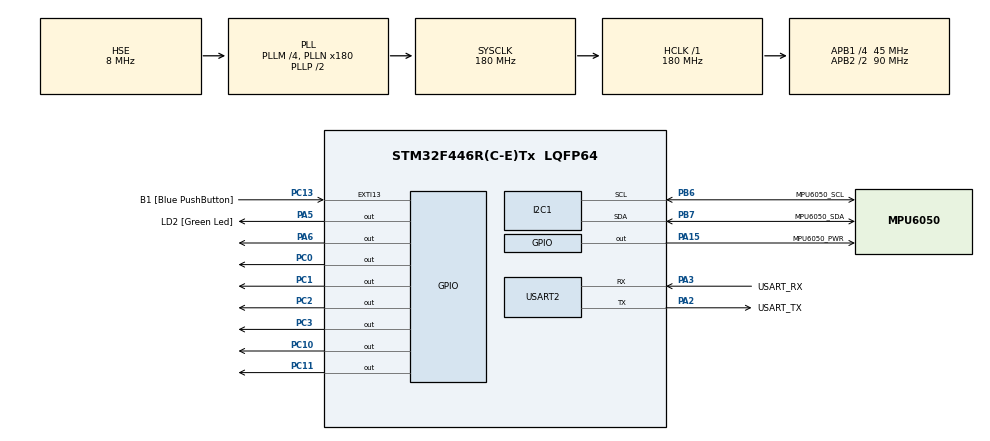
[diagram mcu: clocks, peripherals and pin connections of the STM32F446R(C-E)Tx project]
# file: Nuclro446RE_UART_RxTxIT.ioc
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Dma.I2C1_RX.0.Direction=DMA_PERIPH_TO_MEMORY
Dma.I2C1_RX.0.FIFOMode=DMA_FIFOMODE_DISABLE
Dma.I2C1_RX.0.Instance=DMA1_Stream0
Dma.I2C1_RX.0.MemDataAlignment=DMA_MDATAALIGN_BYTE
Dma.I2C1_RX.0.MemInc=DMA_MINC_ENABLE
Dma.I2C1_RX.0.Mode=DMA_NORMAL
Dma.I2C1_RX.0.PeriphDataAlignment=DMA_PDATAALIGN_BYTE
Dma.I2C1_RX.0.PeriphInc=DMA_PINC_DISABLE
Dma.I2C1_RX.0.Priority=DMA_PRIORITY_HIGH
Dma.I2C1_TX.1.Direction=DMA_MEMORY_TO_PERIPH
Dma.I2C1_TX.1.FIFOMode=DMA_FIFOMODE_DISABLE
Dma.I2C1_TX.1.Instance=DMA1_Stream6
Dma.I2C1_TX.1.MemDataAlignment=DMA_MDATAALIGN_BYTE
Dma.I2C1_TX.1.MemInc=DMA_MINC_ENABLE
Dma.I2C1_TX.1.Mode=DMA_NORMAL
Dma.I2C1_TX.1.PeriphDataAlignment=DMA_PDATAALIGN_BYTE
Dma.I2C1_TX.1.PeriphInc=DMA_PINC_DISABLE
Dma.I2C1_TX.1.Priority=DMA_PRIORITY_HIGH
Dma.Request0=I2C1_RX
Dma.Request1=I2C1_TX
I2C1.DutyCycle=I2C_DUTYCYCLE_16_9
I2C1.I2C_Mode=I2C_Fast
I2C1.OwnAddress=0x0
Mcu.Family=STM32F4
Mcu.Name=STM32F446R(C-E)Tx
Mcu.Package=LQFP64
NVIC.DMA1_Stream0_IRQn=true\:0\:0\:false\:false\:true\:true
NVIC.DMA1_Stream6_IRQn=true\:0\:0\:false\:false\:true\:true
NVIC.PriorityGroup=NVIC_PRIORITYGROUP_0
NVIC.RCC_IRQn=true\:0\:0\:false\:false\:true\:true
NVIC.TIM2_IRQn=true\:0\:0\:false\:false\:true\:true
NVIC.TIM3_IRQn=true\:0\:0\:false\:false\:true\:true
NVIC.USART2_IRQn=true\:0\:0\:false\:false\:true\:true
PA13.GPIO_Label=TMS
PA13.Signal=SYS_JTMS-SWDIO
PA14.GPIO_Label=TCK
PA14.Signal=SYS_JTCK-SWCLK
PA15.GPIO_Label=MPU6050_PWR
PA15.GPIO_Speed=GPIO_SPEED_FREQ_HIGH
PA15.Signal=GPIO_Output
PA2.GPIO_Label=USART_TX
PA2.Mode=Asynchronous
PA2.Signal=USART2_TX
PA3.GPIO_Label=USART_RX
PA3.Mode=Asynchronous
PA3.Signal=USART2_RX
PA5.GPIO_Label=LD2 [Green Led]
PA5.Signal=GPIO_Output
PA6.Signal=GPIO_Output
PB3.GPIO_Label=SWO
PB3.Signal=SYS_JTDO-SWO
PB6.GPIO_Label=MPU6050_SCL
PB6.GPIO_Speed=GPIO_SPEED_FREQ_HIGH
PB6.Mode=I2C
PB6.Signal=I2C1_SCL
PB7.GPIO_Label=MPU6050_SDA
PB7.GPIO_Speed=GPIO_SPEED_FREQ_HIGH
PB7.Mode=I2C
PB7.Signal=I2C1_SDA
PC0.Signal=GPIO_Output
PC1.Signal=GPIO_Output
PC10.Signal=GPIO_Output
PC11.Signal=GPIO_Output
PC13.GPIO_Label=B1 [Blue PushButton]
PC13.GPIO_ModeDefaultEXTI=GPIO_MODE_EVT_RISING
PC13.Signal=GPXTI13
PC14-OSC32_IN.Signal=RCC_OSC32_IN
PC15-OSC32_OUT.Signal=RCC_OSC32_OUT
PC2.Signal=GPIO_Output
PC3.Signal=GPIO_Output
PH0-OSC_IN.Mode=HSE-External-Oscillator
PH0-OSC_IN.Signal=RCC_OSC_IN
PH1-OSC_OUT.Mode=HSE-External-Oscillator
PH1-OSC_OUT.Signal=RCC_OSC_OUT
ProjectManager.HeapSize=0x200
ProjectManager.StackSize=0x400
ProjectManager.TargetToolchain=TrueSTUDIO
RCC.AHBFreq_Value=180000000
RCC.APB1CLKDivider=RCC_HCLK_DIV4
RCC.APB1Freq_Value=45000000
RCC.APB1TimFreq_Value=90000000
RCC.APB2CLKDivider=RCC_HCLK_DIV2
RCC.APB2Freq_Value=90000000
RCC.APB2TimFreq_Value=180000000
RCC.CortexFreq_Value=180000000
RCC.FLatency-AdvancedSettings=FLASH_LATENCY_5
RCC.HCLKFreq_Value=180000000
RCC.HSE_VALUE=8000000
RCC.HSI_VALUE=16000000
RCC.LSE_VALUE=32768
RCC.PLLM=4
RCC.PLLN=180
RCC.PLLSourceVirtual=RCC_PLLSOURCE_HSE
RCC.SYSCLKFreq_VALUE=180000000
RCC.SYSCLKSource=RCC_SYSCLKSOURCE_PLLCLK
RCC.USBFreq_Value=180000000
RCC.VCOOutputFreq_Value=360000000
TIM2.Period=9999
TIM2.Prescaler=9000
TIM3.Period=4999
TIM3.Prescaler=9000
USART2.VirtualMode=VM_ASYNC
VP_TIM2_VS_ClockSourceINT.Mode=Internal
VP_TIM3_VS_ClockSourceINT.Mode=Internal
board=NUCLEO-F446RE

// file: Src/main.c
/**
  ******************************************************************************
  * File Name          : main.c
  * Description        : Main program body
  ******************************************************************************
  *
  * COPYRIGHT(c) 2016 STMicroelectronics
  *
  * Redistribution and use in source and binary forms, with or without modification,
  * are permitted provided that the following conditions are met:
  *   1. Redistributions of source code must retain the above copyright notice,
  *      this list of conditions and the following disclaimer.
  *   2. Redistributions in binary form must reproduce the above copyright notice,
  *      this list of conditions and the following disclaimer in the documentation
  *      and/or other materials provided with the distribution.
  *   3. Neither the name of STMicroelectronics nor the names of its contributors
  *      may be used to endorse or promote products derived from this software
  *      without specific prior written permission.
  *
  * THIS SOFTWARE IS PROVIDED BY THE COPYRIGHT HOLDERS AND CONTRIBUTORS "AS IS"
  * AND ANY EXPRESS OR IMPLIED WARRANTIES, INCLUDING, BUT NOT LIMITED TO, THE
  * IMPLIED WARRANTIES OF MERCHANTABILITY AND FITNESS FOR A PARTICULAR PURPOSE ARE
  * DISCLAIMED. IN NO EVENT SHALL THE COPYRIGHT HOLDER OR CONTRIBUTORS BE LIABLE
  * FOR ANY DIRECT, INDIRECT, INCIDENTAL, SPECIAL, EXEMPLARY, OR CONSEQUENTIAL
  * DAMAGES (INCLUDING, BUT NOT LIMITED TO, PROCUREMENT OF SUBSTITUTE GOODS OR
  * SERVICES; LOSS OF USE, DATA, OR PROFITS; OR BUSINESS INTERRUPTION) HOWEVER
  * CAUSED AND ON ANY THEORY OF LIABILITY, WHETHER IN CONTRACT, STRICT LIABILITY,
  * OR TORT (INCLUDING NEGLIGENCE OR OTHERWISE) ARISING IN ANY WAY OUT OF THE USE
  * OF THIS SOFTWARE, EVEN IF ADVISED OF THE POSSIBILITY OF SUCH DAMAGE.
  *
  ******************************************************************************
  */
#include "stm32f4xx_hal.h"

/* USER CODE BEGIN Includes */
// SYSTICK_Config는 반드시 1000000으로 설정할것~!!!!!
// I2C Clock는 반드시 400KHz로 설정할것.....
#include <stdio.h>
#include <string.h>
#include "tlcd.h"
#include "my_mpu6050.h"
/* USER CODE END Includes */

I2C_HandleTypeDef hi2c1;
DMA_HandleTypeDef hdma_i2c1_rx;
DMA_HandleTypeDef hdma_i2c1_tx;

TIM_HandleTypeDef htim2;
TIM_HandleTypeDef htim3;

UART_HandleTypeDef huart2;

/* USER CODE BEGIN PV */
/* Private variables ---------------------------------------------------------*/
uint8_t Rx_Data2;            // uart2 receive data buffer
uint8_t Transfer_cplt2=0;
uint8_t count = 0,n;
char    sprt[50],gyroData[60],bufdata[14]={0,},i2cTxData[2];
uint8_t MpuSetReady = 0;

/* Initialization of variables for kalman filter */
float x_next[7], P_next[7], z[7],K[7],nn[7];
float P[7]={1,1,1,1,1,1,1};
float Q[7]={0.00001,0.00001,0.00001,0.00001,0.00001,0.00001,0.00001};
float R[7]={0.02,0.02,0.02,0.02,0.02,0.02,0.02};
float xfilter_value[7]={0,0,0,0,0,0,0};

/* USER CODE END PV */

void SystemClock_Config(void);
void Error_Handler(void);
static void MX_GPIO_Init(void);
static void MX_DMA_Init(void);
static void MX_USART2_UART_Init(void);
static void MX_I2C1_Init(void);
static void MX_TIM2_Init(void);
static void MX_TIM3_Init(void);

/* USER CODE BEGIN PFP */
/* Private function prototypes -----------------------------------------------*/
void HAL_UART_RxCpltCallback(UART_HandleTypeDef *huart);
void HAL_TIM_PeriodElapsedCallback(TIM_HandleTypeDef *htim);
void kalman_filter();

/* USER CODE END PFP */

/* USER CODE BEGIN 0 */
void HAL_UART_RxCpltCallback(UART_HandleTypeDef *huart)
{
	if(huart->Instance==USART2){
		HAL_UART_Transmit(&huart2,(uint8_t *)&Rx_Data2, 1,1000);
		HAL_UART_Receive_IT(&huart2,(uint8_t *)&Rx_Data2, 1);
		HAL_GPIO_TogglePin(LD2_GPIO_Port, LD2_Pin);
	}
/*	if(huart->Instance==UART5){
		HAL_UART_Transmit(&huart2,(uint8_t *)&Rx_Data5, 1,1000);
		HAL_UART_Receive_IT(&huart5,(uint8_t *)&Rx_Data5, 1);
	} */
}

uint8_t test = 0;
void HAL_TIM_PeriodElapsedCallback(TIM_HandleTypeDef *htim)
{
	if(htim->Instance==TIM2) {       // 1 sec interrupt
		//sprintf(sprt,"DT : %02d\r\n",count++);
		//if(count==100) count = 0;
		HAL_UART_Transmit(&huart2,(uint8_t *)"123456789\r\n", 10,1000);
		if( test%2 == 0) TLCD_Puts(1,0,"^^^^^^^^^^^^^^^^");
		else             TLCD_Puts(1,0,"@@@@@@@@@@@@@@@@");
		test++;

	}
	else if(htim->Instance==TIM3) {  // 0.5 sec interrupt
		HAL_GPIO_TogglePin(LD2_GPIO_Port, LD2_Pin);
	}
}

// 7개의 값을 칼만필터 적용
void kalman_filter()
{
	int ifilter;

    // Iteration loop
    for(ifilter=0;ifilter<7;ifilter++) {
    	x_next[ifilter]=xfilter_value[ifilter];
    	P_next[ifilter]=P[ifilter]+Q[ifilter];
    	K[ifilter]=P_next[ifilter]/(P_next[ifilter]+R[ifilter]);
    	z[ifilter]=(float)nn[ifilter];
    	xfilter_value[ifilter]=x_next[ifilter]+K[ifilter]*(z[ifilter]-x_next[ifilter]);
    	P[ifilter]=(1-K[ifilter])*P_next[ifilter];
    }
}

/* USER CODE END 0 */

int main(void)
{

  /* MCU Configuration----------------------------------------------------------*/

  /* Reset of all peripherals, Initializes the Flash interface and the Systick. */
  HAL_Init();

  /* Configure the system clock */
  SystemClock_Config();

  /* Initialize all configured peripherals */
  MX_GPIO_Init();
  MX_DMA_Init();
  MX_USART2_UART_Init();
  MX_I2C1_Init();
  MX_TIM2_Init();
  MX_TIM3_Init();

  /* USER CODE BEGIN 2 */
	TLCD_Init(GPIOC,GPIO_PIN_10,GPIO_PIN_11,GPIO_PIN_0,GPIO_PIN_1,GPIO_PIN_2,GPIO_PIN_3);

    // START MPU6050 --------------------------------------------------------------------
    // 만약 mpu6050이 연결되어 있지 않으면 무한루프에 빠짐.
    HAL_Delay(100000);   // wait 0.1 sec for MPU6050 power reset
    HAL_GPIO_WritePin(GPIOA, MPU6050_PWR_Pin, GPIO_PIN_SET);
    HAL_Delay(500000);   // 리셋 후 기동시까지 0.5초 기다림.

  	i2cTxData[0] = (uint8_t)RA_PWR_ADDR;      // 0x6B
    i2cTxData[1] = (uint8_t)RA_PWR_MGMT_1;    // 0
  	while(HAL_I2C_Master_Transmit(&hi2c1,(uint16_t)MPU6050,(uint8_t *)i2cTxData,2,1000)!=HAL_OK);
  	HAL_Delay(1000);    // wait 0.001 sec for MPU6050 START

  	i2cTxData[0] = (uint8_t)RA_USER_CTRL;     // 0x6A
    i2cTxData[1] = (uint8_t)USER_CTRL;        // 0
    while(HAL_I2C_Master_Transmit(&hi2c1,(uint16_t)MPU6050,(uint8_t *)i2cTxData,2,1000)!=HAL_OK);

  	i2cTxData[0] = (uint8_t)RA_INT_PIN_CFG;   // 0x37
    i2cTxData[1] = (uint8_t)PIN_CFG;          // 0
    while(HAL_I2C_Master_Transmit(&hi2c1,(uint16_t)MPU6050,(uint8_t *)i2cTxData,2,1000)!=HAL_OK);

  	i2cTxData[0] = (uint8_t)RA_SMPLRT_DIV;    // 0x19
    i2cTxData[1] = (uint8_t)SMPLRT_DIV;       // 19
    while(HAL_I2C_Master_Transmit(&hi2c1,(uint16_t)MPU6050,(uint8_t *)i2cTxData,2,1000)!=HAL_OK);

  	i2cTxData[0] = (uint8_t)RA_GYRO_CONFIG;   // 0x1B
    i2cTxData[1] = (uint8_t)USER_CTRL;        // 0
    while(HAL_I2C_Master_Transmit(&hi2c1,(uint16_t)MPU6050,(uint8_t *)i2cTxData,2,1000)!=HAL_OK);

  	i2cTxData[0] = (uint8_t)RA_ACCEL_CONFIG;  // 0x1C
    i2cTxData[1] = (uint8_t)USER_CTRL;        // 0
    while(HAL_I2C_Master_Transmit(&hi2c1,(uint16_t)MPU6050,(uint8_t *)i2cTxData,2,1000)!=HAL_OK);

  	i2cTxData[0] = (uint8_t)RA_CONFIG;        // 0x1A
  	i2cTxData[1] = (uint8_t)0;                // 0
  	while(HAL_I2C_Master_Transmit(&hi2c1,(uint16_t)MPU6050,(uint8_t *)i2cTxData,2,1000)!=HAL_OK);

  	// END   MPU6050 --------------------------------------------------------------------

  	i2cTxData[0] = (uint8_t)RA_WHO_AM_I;      // 0x75
    i2cTxData[1] = (uint8_t)1;                // 0
  	while(HAL_I2C_Master_Transmit(&hi2c1,(uint16_t)MPU6050,(uint8_t *)&i2cTxData[0],1,1000)!=HAL_OK);
  	while(HAL_I2C_Master_Receive (&hi2c1,(uint16_t)MPU6050,(uint8_t *)whoAmI,2,1000)!=HAL_OK);

  	while(HAL_UART_Receive_IT(&huart2, (uint8_t *)&Rx_Data2, 1)!=HAL_OK);
	while(HAL_TIM_Base_Start_IT(&htim2)!=HAL_OK);
	while(HAL_TIM_Base_Start_IT(&htim3)!=HAL_OK);

	// LCD사용을 위해 GPIOC를 사용. RS,E, D4,D5,D6,D7
//	TLCD_Init(GPIOC,GPIO_PIN_10,GPIO_PIN_11,GPIO_PIN_0,GPIO_PIN_1,GPIO_PIN_2,GPIO_PIN_3);
	TLCD_Puts(1,0,"****************");
	TLCD_Puts(2,0,"++++++++++++++++");
    HAL_Delay(500000);  // 0.5 sec
	TLCD_Puts(1,0,"1234567890123456");
    sprintf(sprt," I2C IDn : %2x ",whoAmI[0]);
    TLCD_Puts(2,1,sprt);
    MpuSetReady = 1;

  /* USER CODE END 2 */

  /* Infinite loop */
  /* USER CODE BEGIN WHILE */
	i2cTxData[0] = (uint8_t)0x3B;      // 0x3B - GYRO data register start address
	i2cTxData[1] = (uint8_t)0;         // 0

	while (1)
	{
  /* USER CODE END WHILE */

  /* USER CODE BEGIN 3 */
	while(HAL_I2C_Master_Transmit(&hi2c1,(uint16_t)MPU6050,(uint8_t *)&i2cTxData[0],1,1000)!=HAL_OK);  // 0x3B
	while(HAL_I2C_Master_Receive (&hi2c1,(uint16_t)MPU6050,(uint8_t *)bufdata,14,1000)!=HAL_OK);

	for(n=0;n<7;n++) {
		nn[n] = ((int16_t)(bufdata[n*2]<<8)| bufdata[n*2+1])/100.0;
		// if(n<=2) nn[n] /= 16384;
		//sprintf(sprt,"%8d",n);
		//while(HAL_UART_Transmit(&huart2,(uint8_t *)sprt, strlen(sprt),1000)!=HAL_OK);
	}
	kalman_filter();
	memset(bufdata,0x00,14);
	//HAL_UART_Transmit(&huart2,(uint8_t *)"\r\n", 2,1000);
	HAL_Delay(10000);
	}

  /* USER CODE END 3 */

}

/** System Clock Configuration
*/
void SystemClock_Config(void)
{

  RCC_OscInitTypeDef RCC_OscInitStruct;
  RCC_ClkInitTypeDef RCC_ClkInitStruct;

  __HAL_RCC_PWR_CLK_ENABLE();

  __HAL_PWR_VOLTAGESCALING_CONFIG(PWR_REGULATOR_VOLTAGE_SCALE1);

  RCC_OscInitStruct.OscillatorType = RCC_OSCILLATORTYPE_HSE;
  RCC_OscInitStruct.HSEState = RCC_HSE_ON;
  RCC_OscInitStruct.PLL.PLLState = RCC_PLL_ON;
  RCC_OscInitStruct.PLL.PLLSource = RCC_PLLSOURCE_HSE;
  RCC_OscInitStruct.PLL.PLLM = 4;
  RCC_OscInitStruct.PLL.PLLN = 180;
  RCC_OscInitStruct.PLL.PLLP = RCC_PLLP_DIV2;
  RCC_OscInitStruct.PLL.PLLQ = 2;
  RCC_OscInitStruct.PLL.PLLR = 2;
  if (HAL_RCC_OscConfig(&RCC_OscInitStruct) != HAL_OK)
  {
    Error_Handler();
  }

  if (HAL_PWREx_EnableOverDrive() != HAL_OK)
  {
    Error_Handler();
  }

  RCC_ClkInitStruct.ClockType = RCC_CLOCKTYPE_HCLK|RCC_CLOCKTYPE_SYSCLK
                              |RCC_CLOCKTYPE_PCLK1|RCC_CLOCKTYPE_PCLK2;
  RCC_ClkInitStruct.SYSCLKSource = RCC_SYSCLKSOURCE_PLLCLK;
  RCC_ClkInitStruct.AHBCLKDivider = RCC_SYSCLK_DIV1;
  RCC_ClkInitStruct.APB1CLKDivider = RCC_HCLK_DIV4;
  RCC_ClkInitStruct.APB2CLKDivider = RCC_HCLK_DIV2;
  if (HAL_RCC_ClockConfig(&RCC_ClkInitStruct, FLASH_LATENCY_5) != HAL_OK)
  {
    Error_Handler();
  }

  HAL_SYSTICK_Config(HAL_RCC_GetHCLKFreq()/1000000);

  HAL_SYSTICK_CLKSourceConfig(SYSTICK_CLKSOURCE_HCLK);

  /* SysTick_IRQn interrupt configuration */
  HAL_NVIC_SetPriority(SysTick_IRQn, 0, 0);
}

/* I2C1 init function */
static void MX_I2C1_Init(void)
{

  hi2c1.Instance = I2C1;
  hi2c1.Init.ClockSpeed = 400000;
  hi2c1.Init.DutyCycle = I2C_DUTYCYCLE_16_9;
  hi2c1.Init.OwnAddress1 = 0;
  hi2c1.Init.AddressingMode = I2C_ADDRESSINGMODE_7BIT;
  hi2c1.Init.DualAddressMode = I2C_DUALADDRESS_DISABLE;
  hi2c1.Init.OwnAddress2 = 0;
  hi2c1.Init.GeneralCallMode = I2C_GENERALCALL_DISABLE;
  hi2c1.Init.NoStretchMode = I2C_NOSTRETCH_DISABLE;
  if (HAL_I2C_Init(&hi2c1) != HAL_OK)
  {
    Error_Handler();
  }

}

/* TIM2 init function */
static void MX_TIM2_Init(void)
{

  TIM_ClockConfigTypeDef sClockSourceConfig;
  TIM_MasterConfigTypeDef sMasterConfig;

  htim2.Instance = TIM2;
  htim2.Init.Prescaler = 9000;
  htim2.Init.CounterMode = TIM_COUNTERMODE_UP;
  htim2.Init.Period = 9999;
  htim2.Init.ClockDivision = TIM_CLOCKDIVISION_DIV1;
  if (HAL_TIM_Base_Init(&htim2) != HAL_OK)
  {
    Error_Handler();
  }

  sClockSourceConfig.ClockSource = TIM_CLOCKSOURCE_INTERNAL;
  if (HAL_TIM_ConfigClockSource(&htim2, &sClockSourceConfig) != HAL_OK)
  {
    Error_Handler();
  }

  sMasterConfig.MasterOutputTrigger = TIM_TRGO_RESET;
  sMasterConfig.MasterSlaveMode = TIM_MASTERSLAVEMODE_DISABLE;
  if (HAL_TIMEx_MasterConfigSynchronization(&htim2, &sMasterConfig) != HAL_OK)
  {
    Error_Handler();
  }

}

/* TIM3 init function */
static void MX_TIM3_Init(void)
{

  TIM_ClockConfigTypeDef sClockSourceConfig;
  TIM_MasterConfigTypeDef sMasterConfig;

  htim3.Instance = TIM3;
  htim3.Init.Prescaler = 9000;
  htim3.Init.CounterMode = TIM_COUNTERMODE_UP;
  htim3.Init.Period = 4999;
  htim3.Init.ClockDivision = TIM_CLOCKDIVISION_DIV1;
  if (HAL_TIM_Base_Init(&htim3) != HAL_OK)
  {
    Error_Handler();
  }

  sClockSourceConfig.ClockSource = TIM_CLOCKSOURCE_INTERNAL;
  if (HAL_TIM_ConfigClockSource(&htim3, &sClockSourceConfig) != HAL_OK)
  {
    Error_Handler();
  }

  sMasterConfig.MasterOutputTrigger = TIM_TRGO_RESET;
  sMasterConfig.MasterSlaveMode = TIM_MASTERSLAVEMODE_DISABLE;
  if (HAL_TIMEx_MasterConfigSynchronization(&htim3, &sMasterConfig) != HAL_OK)
  {
    Error_Handler();
  }

}

/* USART2 init function */
static void MX_USART2_UART_Init(void)
{

  huart2.Instance = USART2;
  huart2.Init.BaudRate = 115200;
  huart2.Init.WordLength = UART_WORDLENGTH_8B;
  huart2.Init.StopBits = UART_STOPBITS_1;
  huart2.Init.Parity = UART_PARITY_NONE;
  huart2.Init.Mode = UART_MODE_TX_RX;
  huart2.Init.HwFlowCtl = UART_HWCONTROL_NONE;
  huart2.Init.OverSampling = UART_OVERSAMPLING_16;
  if (HAL_UART_Init(&huart2) != HAL_OK)
  {
    Error_Handler();
  }

}

static void MX_DMA_Init(void)
{
  /* DMA controller clock enable */
  __HAL_RCC_DMA1_CLK_ENABLE();

  /* DMA interrupt init */
  /* DMA1_Stream0_IRQn interrupt configuration */
  HAL_NVIC_SetPriority(DMA1_Stream0_IRQn, 0, 0);
  HAL_NVIC_EnableIRQ(DMA1_Stream0_IRQn);
  /* DMA1_Stream6_IRQn interrupt configuration */
  HAL_NVIC_SetPriority(DMA1_Stream6_IRQn, 0, 0);
  HAL_NVIC_EnableIRQ(DMA1_Stream6_IRQn);

}

/** Configure pins as
        * Analog
        * Input
        * Output
        * EVENT_OUT
        * EXTI
*/
static void MX_GPIO_Init(void)
{

  GPIO_InitTypeDef GPIO_InitStruct;

  /* GPIO Ports Clock Enable */
  __HAL_RCC_GPIOC_CLK_ENABLE();
  __HAL_RCC_GPIOH_CLK_ENABLE();
  __HAL_RCC_GPIOA_CLK_ENABLE();
  __HAL_RCC_GPIOB_CLK_ENABLE();

  /*Configure GPIO pin : B1_Pin */
  GPIO_InitStruct.Pin = B1_Pin;
  GPIO_InitStruct.Mode = GPIO_MODE_EVT_RISING;
  GPIO_InitStruct.Pull = GPIO_NOPULL;
  HAL_GPIO_Init(B1_GPIO_Port, &GPIO_InitStruct);

  /*Configure GPIO pins : PC0 PC1 PC2 PC3
                           PC10 PC11 */
  GPIO_InitStruct.Pin = GPIO_PIN_0|GPIO_PIN_1|GPIO_PIN_2|GPIO_PIN_3
                          |GPIO_PIN_10|GPIO_PIN_11;
  GPIO_InitStruct.Mode = GPIO_MODE_OUTPUT_PP;
  GPIO_InitStruct.Pull = GPIO_NOPULL;
  GPIO_InitStruct.Speed = GPIO_SPEED_FREQ_LOW;
  HAL_GPIO_Init(GPIOC, &GPIO_InitStruct);

  /*Configure GPIO pins : LD2_Pin PA6 */
  GPIO_InitStruct.Pin = LD2_Pin|GPIO_PIN_6;
  GPIO_InitStruct.Mode = GPIO_MODE_OUTPUT_PP;
  GPIO_InitStruct.Pull = GPIO_NOPULL;
  GPIO_InitStruct.Speed = GPIO_SPEED_FREQ_LOW;
  HAL_GPIO_Init(GPIOA, &GPIO_InitStruct);

  /*Configure GPIO pin : MPU6050_PWR_Pin */
  GPIO_InitStruct.Pin = MPU6050_PWR_Pin;
  GPIO_InitStruct.Mode = GPIO_MODE_OUTPUT_PP;
  GPIO_InitStruct.Pull = GPIO_NOPULL;
  GPIO_InitStruct.Speed = GPIO_SPEED_FREQ_HIGH;
  HAL_GPIO_Init(MPU6050_PWR_GPIO_Port, &GPIO_InitStruct);

  /*Configure GPIO pin Output Level */
  HAL_GPIO_WritePin(GPIOC, GPIO_PIN_0|GPIO_PIN_1|GPIO_PIN_2|GPIO_PIN_3
                          |GPIO_PIN_10|GPIO_PIN_11, GPIO_PIN_RESET);

  /*Configure GPIO pin Output Level */
  HAL_GPIO_WritePin(GPIOA, LD2_Pin|GPIO_PIN_6|MPU6050_PWR_Pin, GPIO_PIN_RESET);

}

void Error_Handler(void)
{
  while(1)
  {
  }
}

/************************ (C) COPYRIGHT STMicroelectronics *****END OF FILE****/
